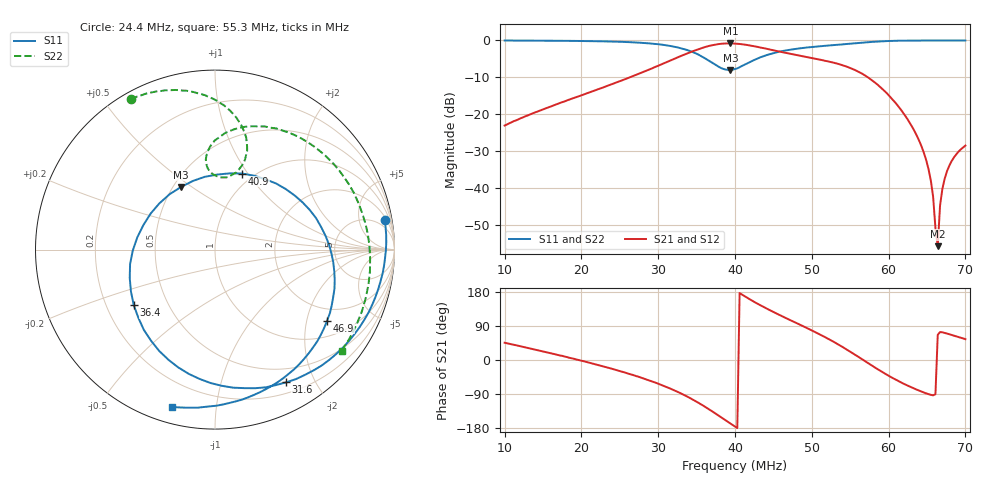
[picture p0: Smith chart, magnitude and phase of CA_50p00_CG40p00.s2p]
#  HZ  S  RI  R  50.00
! Rohde & Schwarz ZVT8 8Ports - Version 4.11 - 1300.0000k08 SN: 100242
! Date: 2026-07-31 15:13:36
! Measurements: S11 S21 S12 S22
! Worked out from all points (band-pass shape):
!   201 points, 10 MHz to 70 MHz, reference 50 ohm
!   highest |S21| = -0.82 dB at 39.4 MHz (marker M1); lowest = -55.6 dB at 66.4 MHz (marker M2)
!   |S21| within 3 dB of the highest: 33.44 MHz to 47.6 MHz (14.17 MHz wide, 35 % of centre)
!   lowest |S11| = -8.0 dB at 39.4 MHz (marker M3), VSWR 2.32, Z = 27.4 + j22.7 ohm
!   |S11| at or under -10 dB: nowhere
!   |S22| runs from -7.9 to 0.0 dB; largest |S21 - S12| = 0.0036
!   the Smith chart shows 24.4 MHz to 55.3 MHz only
!   S11 on the Smith chart (normalised r, x): 24.4 MHz: 3, +11; 31.6 MHz: 0.32, -1.62; 36.4 MHz: 0.32, -0.28; 40.9 MHz: 0.89, +0.94; 46.9 MHz: 1.52, -2.66; 55.3 MHz: 0.08, -0.76
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1e7  -0.4077 0.9092  0.0494 0.0505  0.0493 0.0503  -0.9207 0.381
2.02e7  0.7174 0.6661  0.184 -0.009  0.1836 -0.00908  -0.654 0.7288
2.44e7  0.946 0.1659  0.2399 -0.1154  0.2399 -0.1154  -0.4697 0.8395
3.01e7  0.6375 -0.6138  0.2061 -0.4097  0.207 -0.4095  -0.1193 0.8779
3.16e7  0.3966 -0.7394  0.1324 -0.5182  0.1322 -0.5183  -0.0135 0.8417
3.4e7  -0.0853 -0.7209  -0.1044 -0.6713  -0.1047 -0.6722  0.1319 0.7153
3.64e7  -0.4529 -0.3087  -0.5012 -0.6599  -0.502 -0.6604  0.1727 0.5248
3.94e7  -0.1895 0.3489  -0.8888 -0.1951  -0.8896 -0.1959  0.027 0.4024
4e7  -0.0559 0.4059  -0.9017 -0.0694  -0.9018 -0.0688  -0.00486 0.4162
4.09e7  0.1526 0.4237  -0.8792 0.1113  -0.8799 0.1116  -0.0395 0.4507
4.36e7  0.592 0.1247  -0.6165 0.4943  -0.6141 0.4944  -0.00126 0.6078
4.69e7  0.6247 -0.3957  -0.2068 0.6346  -0.206 0.6331  0.2771 0.6861
5.02e7  0.3496 -0.7382  0.1374 0.5546  0.1361 0.5554  0.654 0.4846
5.53e7  -0.241 -0.8757  0.3907 0.1284  0.3905 0.1278  0.7067 -0.563
5.77e7  -0.529 -0.7907  0.2883 -0.0668  0.2878 -0.0667  0.1184 -0.9404
6.01e7  -0.7753 -0.5986  0.1304 -0.12  0.1304 -0.1199  -0.5403 -0.8147
6.46e7  -0.9931 -0.0766  0.00219 -0.03  0.00208 -0.03  -0.9931 -0.0322
6.55e7  -0.9956 0.0326  -0.00044 -0.0128  -0.00045 -0.0128  -0.9892 0.1042
6.64e7  -0.9869 0.1422  0.000659 0.00152  0.00069 0.00152  -0.9692 0.2284
6.67e7  -0.9801 0.1785  0.00164 0.00562  0.00163 0.0056  -0.9591 0.2648
6.73e7  -0.9642 0.2491  0.00426 0.0128  0.00429 0.0128  -0.9369 0.3363
7e7  -0.8353 0.5422  0.0217 0.031  0.0217 0.0309  -0.7994 0.5928
